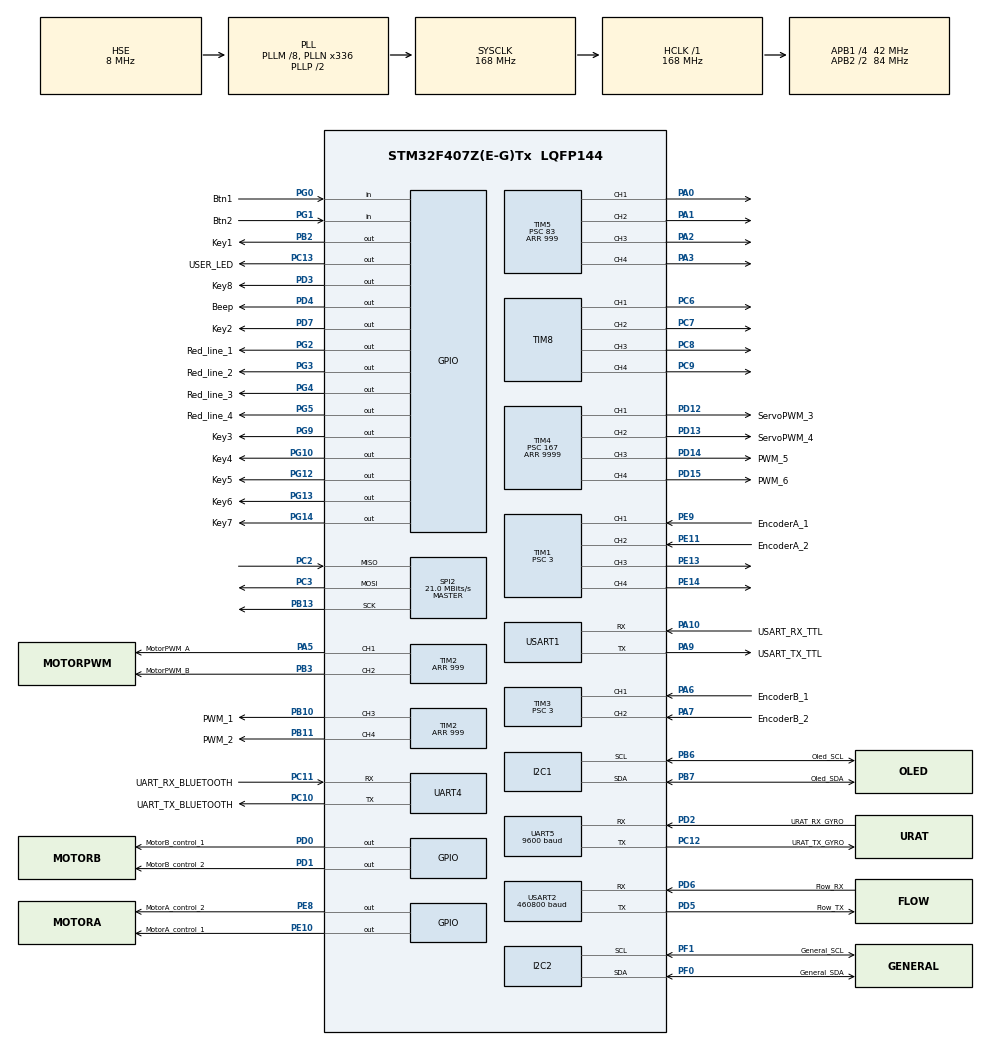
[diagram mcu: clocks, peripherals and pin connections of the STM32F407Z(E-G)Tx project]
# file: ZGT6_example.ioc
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I2C1.I2C_Mode=I2C_Standard
I2C2.I2C_Mode=I2C_Fast
Mcu.Family=STM32F4
Mcu.Name=STM32F407Z(E-G)Tx
Mcu.Package=LQFP144
NVIC.PriorityGroup=NVIC_PRIORITYGROUP_4
NVIC.TIM5_IRQn=true\:1\:0\:true\:false\:true\:true\:true\:true
NVIC.UART4_IRQn=true\:0\:0\:false\:false\:true\:true\:true\:true
NVIC.UART5_IRQn=true\:0\:0\:false\:false\:true\:true\:true\:true
NVIC.USART1_IRQn=true\:0\:0\:false\:false\:true\:true\:true\:true
NVIC.USART2_IRQn=true\:0\:0\:false\:false\:true\:true\:true\:true
PA0-WKUP.Signal=S_TIM5_CH1
PA1.Signal=S_TIM5_CH2
PA10.GPIO_Label=USART_RX_TTL
PA10.Mode=Asynchronous
PA10.Signal=USART1_RX
PA13.Mode=Serial_Wire
PA13.Signal=SYS_JTMS-SWDIO
PA14.Mode=Serial_Wire
PA14.Signal=SYS_JTCK-SWCLK
PA2.Signal=S_TIM5_CH3
PA3.Signal=S_TIM5_CH4
PA5.GPIO_Label=MotorPWM_A
PA5.Signal=S_TIM2_CH1_ETR
PA6.GPIO_Label=EncoderB_1
PA6.Signal=S_TIM3_CH1
PA7.GPIO_Label=EncoderB_2
PA7.Signal=S_TIM3_CH2
PA9.GPIO_Label=USART_TX_TTL
PA9.Mode=Asynchronous
PA9.Signal=USART1_TX
PB10.GPIO_Label=PWM_1
PB10.Signal=S_TIM2_CH3
PB11.GPIO_Label=PWM_2
PB11.Signal=S_TIM2_CH4
PB13.Mode=Full_Duplex_Master
PB13.Signal=SPI2_SCK
PB2.GPIO_Label=Key1
PB2.Signal=GPIO_Output
PB3.GPIO_Label=MotorPWM_B
PB3.Signal=S_TIM2_CH2
PB6.GPIO_Label=Oled_SCL
PB6.Mode=I2C
PB6.Signal=I2C1_SCL
PB7.GPIO_Label=Oled_SDA
PB7.Mode=I2C
PB7.Signal=I2C1_SDA
PC10.GPIO_Label=UART_TX_BLUETOOTH
PC10.Mode=Asynchronous
PC10.Signal=UART4_TX
PC11.GPIO_Label=UART_RX_BLUETOOTH
PC11.Mode=Asynchronous
PC11.Signal=UART4_RX
PC12.GPIO_Label=URAT_TX_GYRO
PC12.Mode=Asynchronous
PC12.Signal=UART5_TX
PC13-ANTI_TAMP.GPIO_Label=USER_LED
PC13-ANTI_TAMP.Signal=GPIO_Output
PC14-OSC32_IN.Mode=LSE-External-Oscillator
PC14-OSC32_IN.Signal=RCC_OSC32_IN
PC15-OSC32_OUT.Mode=LSE-External-Oscillator
PC15-OSC32_OUT.Signal=RCC_OSC32_OUT
PC2.Mode=Full_Duplex_Master
PC2.Signal=SPI2_MISO
PC3.Mode=Full_Duplex_Master
PC3.Signal=SPI2_MOSI
PC6.Signal=S_TIM8_CH1
PC7.Signal=S_TIM8_CH2
PC8.Signal=S_TIM8_CH3
PC9.Signal=S_TIM8_CH4
PD0.GPIO_Label=MotorB_control_1
PD0.Signal=GPIO_Output
PD1.GPIO_Label=MotorB_control_2
PD1.Signal=GPIO_Output
PD12.GPIO_Label=ServoPWM_3
PD12.Signal=S_TIM4_CH1
PD13.GPIO_Label=ServoPWM_4
PD13.Signal=S_TIM4_CH2
PD14.GPIO_Label=PWM_5
PD14.Signal=S_TIM4_CH3
PD15.GPIO_Label=PWM_6
PD15.Signal=S_TIM4_CH4
PD2.GPIO_Label=URAT_RX_GYRO
PD2.Mode=Asynchronous
PD2.Signal=UART5_RX
PD3.GPIO_Label=Key8
PD3.Signal=GPIO_Output
PD4.GPIO_Label=Beep
PD4.Signal=GPIO_Output
PD5.GPIO_Label=Flow_TX
PD5.Mode=Asynchronous
PD5.Signal=USART2_TX
PD6.GPIO_Label=Flow_RX
PD6.Mode=Asynchronous
PD6.Signal=USART2_RX
PD7.GPIO_Label=Key2
PD7.Signal=GPIO_Output
PE10.GPIO_Label=MotorA_control_1
PE10.Signal=GPIO_Output
PE11.GPIO_Label=EncoderA_2
PE11.Signal=S_TIM1_CH2
PE13.Signal=S_TIM1_CH3
PE14.Signal=S_TIM1_CH4
PE8.GPIO_Label=MotorA_control_2
PE8.Signal=GPIO_Output
PE9.GPIO_Label=EncoderA_1
PE9.Signal=S_TIM1_CH1
PF0.GPIO_Label=General_SDA
PF0.Mode=I2C
PF0.Signal=I2C2_SDA
PF1.GPIO_Label=General_SCL
PF1.Mode=I2C
PF1.Signal=I2C2_SCL
PG0.GPIO_Label=Btn1
PG0.Signal=GPIO_Input
PG1.GPIO_Label=Btn2
PG1.Signal=GPIO_Input
PG10.GPIO_Label=Key4
PG10.Signal=GPIO_Output
PG12.GPIO_Label=Key5
PG12.Signal=GPIO_Output
PG13.GPIO_Label=Key6
PG13.Signal=GPIO_Output
PG14.GPIO_Label=Key7
PG14.Signal=GPIO_Output
PG2.GPIO_Label=Red_line_1
PG2.Signal=GPIO_Output
PG3.GPIO_Label=Red_line_2
PG3.Signal=GPIO_Output
PG4.GPIO_Label=Red_line_3
PG4.Signal=GPIO_Output
PG5.GPIO_Label=Red_line_4
PG5.Signal=GPIO_Output
PG9.GPIO_Label=Key3
PG9.Signal=GPIO_Output
PH0-OSC_IN.Mode=HSE-External-Oscillator
PH0-OSC_IN.Signal=RCC_OSC_IN
PH1-OSC_OUT.Mode=HSE-External-Oscillator
PH1-OSC_OUT.Signal=RCC_OSC_OUT
ProjectManager.HeapSize=0x200
ProjectManager.StackSize=0x400
ProjectManager.TargetToolchain=CMake
RCC.48MHZClocksFreq_Value=84000000
RCC.AHBFreq_Value=168000000
RCC.APB1CLKDivider=RCC_HCLK_DIV4
RCC.APB1Freq_Value=42000000
RCC.APB1TimFreq_Value=84000000
RCC.APB2CLKDivider=RCC_HCLK_DIV2
RCC.APB2Freq_Value=84000000
RCC.APB2TimFreq_Value=168000000
RCC.CortexFreq_Value=168000000
RCC.HCLKFreq_Value=168000000
RCC.HSE_VALUE=8000000
RCC.HSI_VALUE=16000000
RCC.PLLM=8
RCC.PLLN=336
RCC.PLLSourceVirtual=RCC_PLLSOURCE_HSE
RCC.SYSCLKFreq_VALUE=168000000
RCC.SYSCLKSource=RCC_SYSCLKSOURCE_PLLCLK
RCC.VCOOutputFreq_Value=336000000
SH.S_TIM1_CH1.0=TIM1_CH1,Encoder_Interface
SH.S_TIM1_CH2.0=TIM1_CH2,Encoder_Interface
SH.S_TIM1_CH3.0=TIM1_CH3,Output Compare3 CH3
SH.S_TIM1_CH4.0=TIM1_CH4,Output Compare4 CH4
SH.S_TIM2_CH1_ETR.0=TIM2_CH1,PWM Generation1 CH1
SH.S_TIM2_CH2.0=TIM2_CH2,PWM Generation2 CH2
SH.S_TIM2_CH3.0=TIM2_CH3,PWM Generation3 CH3
SH.S_TIM2_CH4.0=TIM2_CH4,PWM Generation4 CH4
SH.S_TIM3_CH1.0=TIM3_CH1,Encoder_Interface
SH.S_TIM3_CH2.0=TIM3_CH2,Encoder_Interface
SH.S_TIM4_CH1.0=TIM4_CH1,PWM Generation1 CH1
SH.S_TIM4_CH2.0=TIM4_CH2,PWM Generation2 CH2
SH.S_TIM4_CH3.0=TIM4_CH3,PWM Generation3 CH3
SH.S_TIM4_CH4.0=TIM4_CH4,PWM Generation4 CH4
SH.S_TIM5_CH1.0=TIM5_CH1,Output Compare1 CH1
SH.S_TIM5_CH2.0=TIM5_CH2,PWM Generation2 CH2
SH.S_TIM5_CH3.0=TIM5_CH3,Output Compare3 CH3
SH.S_TIM5_CH4.0=TIM5_CH4,Forced Output4 CH4
SH.S_TIM8_CH1.0=TIM8_CH1,Output Compare1 CH1
SH.S_TIM8_CH2.0=TIM8_CH2,Output Compare2 CH2
SH.S_TIM8_CH3.0=TIM8_CH3,Forced Output3 CH3
SH.S_TIM8_CH4.0=TIM8_CH4,PWM Generation4 CH4
SPI2.BaudRatePrescaler=SPI_BAUDRATEPRESCALER_2
SPI2.CalculateBaudRate=21.0 MBits/s
SPI2.Direction=SPI_DIRECTION_2LINES
SPI2.Mode=SPI_MODE_MASTER
SPI2.VirtualType=VM_MASTER
TIM1.Channel-Output\ Compare3\ CH3=TIM_CHANNEL_3
TIM1.Channel-Output\ Compare4\ CH4=TIM_CHANNEL_4
TIM1.EncoderMode=TIM_ENCODERMODE_TI12
TIM1.Prescaler=3
TIM2.Channel-PWM\ Generation1\ CH1=TIM_CHANNEL_1
TIM2.Channel-PWM\ Generation2\ CH2=TIM_CHANNEL_2
TIM2.Channel-PWM\ Generation3\ CH3=TIM_CHANNEL_3
TIM2.Channel-PWM\ Generation4\ CH4=TIM_CHANNEL_4
TIM2.Period=999
TIM3.EncoderMode=TIM_ENCODERMODE_TI12
TIM3.Prescaler=3
TIM4.Channel-PWM\ Generation1\ CH1=TIM_CHANNEL_1
TIM4.Channel-PWM\ Generation2\ CH2=TIM_CHANNEL_2
TIM4.Channel-PWM\ Generation3\ CH3=TIM_CHANNEL_3
TIM4.Channel-PWM\ Generation4\ CH4=TIM_CHANNEL_4
TIM4.Period=9999
TIM4.Prescaler=167
TIM5.Channel-Forced\ Output4\ CH4=TIM_CHANNEL_4
TIM5.Channel-Output\ Compare1\ CH1=TIM_CHANNEL_1
TIM5.Channel-Output\ Compare3\ CH3=TIM_CHANNEL_3
TIM5.Channel-PWM\ Generation2\ CH2=TIM_CHANNEL_2
TIM5.Period=999
TIM5.Prescaler=83
TIM8.Channel-Forced\ Output3\ CH3=TIM_CHANNEL_3
TIM8.Channel-Output\ Compare1\ CH1=TIM_CHANNEL_1
TIM8.Channel-Output\ Compare2\ CH2=TIM_CHANNEL_2
TIM8.Channel-PWM\ Generation4\ CH4=TIM_CHANNEL_4
UART4.VirtualMode=Asynchronous
UART5.BaudRate=9600
UART5.VirtualMode=Asynchronous
USART1.VirtualMode=VM_ASYNC
USART2.BaudRate=460800
USART2.VirtualMode=VM_ASYNC
VP_TIM4_VS_ClockSourceINT.Mode=Internal
VP_TIM5_VS_ClockSourceINT.Mode=Internal
board=custom

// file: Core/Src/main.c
/* USER CODE BEGIN Header */
/**
 ******************************************************************************
 * @file           : main.c
 * @brief          : Main program body
 ******************************************************************************
 * @attention
 *
 * Copyright (c) 2025 STMicroelectronics.
 * All rights reserved.
 *
 * This software is licensed under terms that can be found in the LICENSE file
 * in the root directory of this software component.
 * If no LICENSE file comes with this software, it is provided AS-IS.
 *
 ******************************************************************************
 */
/* USER CODE END Header */
#include "main.h"
#include "i2c.h"
#include "spi.h"
#include "tim.h"
#include "usart.h"
#include "gpio.h"

/* USER CODE BEGIN Includes */

#include "encoder.h"
#include "motor.h"
#include <stdio.h>
#include <string.h>
#include "jy61p.h"
#include "pid_control.h"
#include "angle_control.h"
#include "flow_decode.h"

/* USER CODE END Includes */

/* USER CODE BEGIN PV */

/* The variables about GRYO is declared here */

volatile uint8_t gyro_sample = 0; // How many seconds to read data
uint8_t g_usart5_receivedata;

/* This is the end of declaration */

/* This is the declaration of the variables of encoder data*/

extern Encoder_TypeDef encoderA;
extern Encoder_TypeDef encoderB;
volatile uint8_t encoder_sample = 0; // How many seconds to read encoder data

/* This is the end of declaration to the encoder*/

/* This is for the time of user_led */
volatile uint8_t user_led_time = 0; // How many seconds to turn on the user led
/* This is the end */

/* This is the declaration of the variables of angle PID control*/
volatile uint8_t angle_pid_sample = 0; // How many ms to update angle PID
/* This is the end of declaration to the angle PID*/

/* This is the space for you to place optical_flow */
volatile uint8_t optical_flow_sample = 0; // How many seconds to read data from optical flow sensor
uint8_t flowRxByte;
/* This is the end of optical_flow declaration */

/* USER CODE END PV */

void SystemClock_Config(void);

int main(void)
{

  /* MCU Configuration--------------------------------------------------------*/

  /* Reset of all peripherals, Initializes the Flash interface and the Systick. */
  HAL_Init();

  /* Configure the system clock */
  SystemClock_Config();

  /* Initialize all configured peripherals */
  MX_GPIO_Init();
  MX_I2C1_Init();
  MX_I2C2_Init();
  MX_SPI2_Init();
  MX_TIM1_Init();
  MX_TIM2_Init();
  MX_TIM3_Init();
  MX_TIM4_Init();
  MX_TIM5_Init();
  MX_TIM8_Init();
  MX_UART4_Init();
  MX_UART5_Init();
  MX_USART1_UART_Init();
  MX_USART2_UART_Init();
  /* USER CODE BEGIN 2 */

  // Init uart receive
  UART_StartReceive(&huart4);
  HAL_UART_Receive_IT(&huart5, &g_usart5_receivedata, 1);
  HAL_TIM_Base_Start_IT(&htim5);
  HAL_UART_Receive_IT(&huart2, &flowRxByte, 1);

  HAL_TIM_Encoder_Start(&htim1, TIM_CHANNEL_1);
  HAL_TIM_Encoder_Start(&htim1, TIM_CHANNEL_2);
  HAL_TIM_Encoder_Start(&htim3, TIM_CHANNEL_1);
  HAL_TIM_Encoder_Start(&htim3, TIM_CHANNEL_2);
  Motor_Init();
  Encoder_Init();

  /* Init the PID control here */
  PID_Init(&pid_motor_a);
  PID_Init(&pid_motor_b);
  AngleControl_Init();
  SetStraightDrive(80.0f, 0.0f);
  /* Finish init PID control */

  /* USER CODE END 2 */

  /* Infinite loop */
  /* USER CODE BEGIN WHILE */
  while (1)
  {
    /* This is for our led to check */
    if (user_led_time >= 99)
    {
      user_led_time = 0;                                    // Reset the time
      HAL_GPIO_TogglePin(USER_LED_GPIO_Port, USER_LED_Pin); // Toggle the user led
    }
    /* This is the end of check, don't move! */

    /* This is for the encoder to update */
    if (encoder_sample >= 49)
    {
      AnglePID_Update();
      Encoder_Update(&encoderA, 50); // Put into the sample time(ms)
      Encoder_Update(&encoderB, 50);
      PID_Update();
      encoder_sample = 0; // Reset the sample counter
      // printf("Yaw: %.2f, rppA: %.2f, rppB: %.2f\r\n",
      //        My_YawAngle,
      //        encoderA.speed_rpp,
      //        encoderB.speed_rpp);
    }

    /* This is the code for angle update */

    /* This is the call to the function of read the data of optical flow sensor */
    if (optical_flow_sample >= 99)
    {
      optical_flow_sample = 0; // 重置计数器

      // 如果数据有效
      printf("Flow X: %d, Flow Y: %d, Ground Distance: %d, Valid: %d\r\n",
             up_flow_data.flow_x_integral, up_flow_data.flow_y_integral,
             up_flow_data.ground_distance, up_flow_data.valid);
    }
    /* This is the end of this function */

    /* USER CODE END WHILE */

  }
}

void SystemClock_Config(void)
{
  RCC_OscInitTypeDef RCC_OscInitStruct = {0};
  RCC_ClkInitTypeDef RCC_ClkInitStruct = {0};

  /** Configure the main internal regulator output voltage
   */
  __HAL_RCC_PWR_CLK_ENABLE();
  __HAL_PWR_VOLTAGESCALING_CONFIG(PWR_REGULATOR_VOLTAGE_SCALE1);

  /** Initializes the RCC Oscillators according to the specified parameters
   * in the RCC_OscInitTypeDef structure.
   */
  RCC_OscInitStruct.OscillatorType = RCC_OSCILLATORTYPE_HSE;
  RCC_OscInitStruct.HSEState = RCC_HSE_ON;
  RCC_OscInitStruct.PLL.PLLState = RCC_PLL_ON;
  RCC_OscInitStruct.PLL.PLLSource = RCC_PLLSOURCE_HSE;
  RCC_OscInitStruct.PLL.PLLM = 8;
  RCC_OscInitStruct.PLL.PLLN = 336;
  RCC_OscInitStruct.PLL.PLLP = RCC_PLLP_DIV2;
  RCC_OscInitStruct.PLL.PLLQ = 4;
  if (HAL_RCC_OscConfig(&RCC_OscInitStruct) != HAL_OK)
  {
    Error_Handler();
  }

  /** Initializes the CPU, AHB and APB buses clocks
   */
  RCC_ClkInitStruct.ClockType = RCC_CLOCKTYPE_HCLK | RCC_CLOCKTYPE_SYSCLK | RCC_CLOCKTYPE_PCLK1 | RCC_CLOCKTYPE_PCLK2;
  RCC_ClkInitStruct.SYSCLKSource = RCC_SYSCLKSOURCE_PLLCLK;
  RCC_ClkInitStruct.AHBCLKDivider = RCC_SYSCLK_DIV1;
  RCC_ClkInitStruct.APB1CLKDivider = RCC_HCLK_DIV4;
  RCC_ClkInitStruct.APB2CLKDivider = RCC_HCLK_DIV2;

  if (HAL_RCC_ClockConfig(&RCC_ClkInitStruct, FLASH_LATENCY_5) != HAL_OK)
  {
    Error_Handler();
  }
}

/* USER CODE BEGIN 4 */

/* Timer interruption is created here. Don't delete it!!! */
void HAL_TIM_PeriodElapsedCallback(TIM_HandleTypeDef *htim)
{
  // All Timed Tasks Need to be marked here!!!
  if (htim == &htim5)
  {
    if (user_led_time < 99)
    {
      user_led_time++;
    }

    if (encoder_sample < 69)
    {
      encoder_sample++;
    }
    if (angle_pid_sample <= 29)
    {
      angle_pid_sample++;
    }
    if (optical_flow_sample <= 99)
    {
      optical_flow_sample++;
    }
    /* End of temp */
  }
}
/* Don't Move This Code!!! */

/* USER CODE END 4 */

void Error_Handler(void)
{
  __disable_irq();
  while (1)
  {
  }
}
